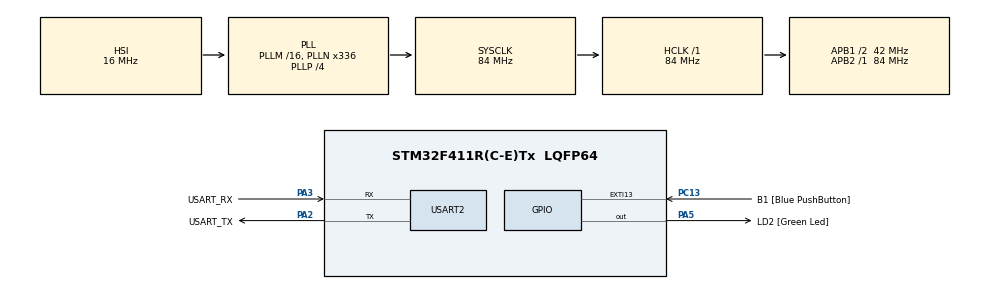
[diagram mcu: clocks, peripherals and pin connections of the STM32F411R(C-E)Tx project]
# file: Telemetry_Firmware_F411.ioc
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Mcu.Family=STM32F4
Mcu.Name=STM32F411R(C-E)Tx
Mcu.Package=LQFP64
NVIC.PriorityGroup=NVIC_PRIORITYGROUP_0
PA13.GPIO_Label=TMS
PA13.Mode=Serial_Wire
PA13.Signal=SYS_JTMS-SWDIO
PA14.GPIO_Label=TCK
PA14.Mode=Serial_Wire
PA14.Signal=SYS_JTCK-SWCLK
PA2.GPIO_Label=USART_TX
PA2.Mode=Asynchronous
PA2.Signal=USART2_TX
PA3.GPIO_Label=USART_RX
PA3.Mode=Asynchronous
PA3.Signal=USART2_RX
PA5.GPIO_Label=LD2 [Green Led]
PA5.Signal=GPIO_Output
PB3.GPIO_Label=SWO
PB3.Signal=SYS_JTDO-SWO
PC13-ANTI_TAMP.GPIO_Label=B1 [Blue PushButton]
PC13-ANTI_TAMP.GPIO_ModeDefaultEXTI=GPIO_MODE_IT_FALLING
PC13-ANTI_TAMP.Signal=GPXTI13
PC14-OSC32_IN.Mode=LSE-External-Oscillator
PC14-OSC32_IN.Signal=RCC_OSC32_IN
PC15-OSC32_OUT.Mode=LSE-External-Oscillator
PC15-OSC32_OUT.Signal=RCC_OSC32_OUT
PH0\ -\ OSC_IN.Mode=HSE-External-Clock-Source
PH0\ -\ OSC_IN.Signal=RCC_OSC_IN
PH1\ -\ OSC_OUT.Mode=HSE-External-Clock-Source
PH1\ -\ OSC_OUT.Signal=RCC_OSC_OUT
ProjectManager.HeapSize=0x200
ProjectManager.StackSize=0x400
ProjectManager.TargetToolchain=STM32CubeIDE
RCC.48MHZClocksFreq_Value=84000000
RCC.AHBFreq_Value=84000000
RCC.APB1CLKDivider=RCC_HCLK_DIV2
RCC.APB1Freq_Value=42000000
RCC.APB1TimFreq_Value=84000000
RCC.APB2Freq_Value=84000000
RCC.APB2TimFreq_Value=84000000
RCC.CortexFreq_Value=84000000
RCC.FLatency-AdvancedSettings=FLASH_LATENCY_2
RCC.HCLKFreq_Value=84000000
RCC.HSE_VALUE=8000000
RCC.HSI_VALUE=16000000
RCC.PLLN=336
RCC.PLLP=RCC_PLLP_DIV4
RCC.SYSCLKFreq_VALUE=84000000
RCC.SYSCLKSource=RCC_SYSCLKSOURCE_PLLCLK
RCC.VCOOutputFreq_Value=336000000
USART2.VirtualMode=VM_ASYNC
board=NUCLEO-F411RE

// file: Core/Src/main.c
/* USER CODE BEGIN Header */
/**
  ******************************************************************************
  * @file           : main.c
  * @brief          : Main program body
  ******************************************************************************
  * @attention
  *
  * Copyright (c) 2026 STMicroelectronics.
  * All rights reserved.
  *
  * This software is licensed under terms that can be found in the LICENSE file
  * in the root directory of this software component.
  * If no LICENSE file comes with this software, it is provided AS-IS.
  *
  ******************************************************************************
  */
/* USER CODE END Header */
#include "main.h"

/* USER CODE BEGIN Includes */
#include "cobs.h"
#include "crc16.h"
/* USER CODE END Includes */

UART_HandleTypeDef huart2;

void SystemClock_Config(void);
static void MX_GPIO_Init(void);
static void MX_USART2_UART_Init(void);

int main(void)
{

  /* USER CODE BEGIN 1 */
	uint8_t counter = 0;
  /* USER CODE END 1 */

  /* MCU Configuration--------------------------------------------------------*/

  /* Reset of all peripherals, Initializes the Flash interface and the Systick. */
  HAL_Init();

  /* Configure the system clock */
  SystemClock_Config();

  /* Initialize all configured peripherals */
  MX_GPIO_Init();
  MX_USART2_UART_Init();

  /* Infinite loop */
  while (1)
  {

    /* USER CODE BEGIN 3 */
	  // Initializing the individual values
	  uint8_t raw[5];
	  uint8_t frame[7];

	  raw[0] = 0x11;
	  raw[1] = 0x22;
	  raw[2] = counter;

	  uint16_t crcSignature = crc16(raw, 3);
	  uint8_t crcHi = (uint8_t)(crcSignature >> 8);
	  uint8_t crcLo = (uint8_t)(crcSignature);
	  raw[3] = crcHi;
	  raw[4] = crcLo;

	  size_t frameLength = cobsEncode(raw, 5, frame);
	  frame[frameLength] = 0x00;

	  // HAL_UART_Transmit and keeping returned data
	  HAL_StatusTypeDef status = HAL_UART_Transmit(
			  &huart2,						// passing &huart2
			  frame,						// first byte of encoded frame
			  (uint16_t)frameLength + 1,	// encoded frame length + 0x00
			  100							// max ms to wait before aborting
	  );

	  if (status != HAL_OK) {
		  // Transmitting data failed. Turn and keep on the LED
		  HAL_GPIO_WritePin(LD2_GPIO_Port, LD2_Pin, GPIO_PIN_SET);
	  }	else {
		  // Transmitting data worked. Turn LED on/off repeatedly.
		  HAL_GPIO_TogglePin(LD2_GPIO_Port, LD2_Pin);
	  }

	  counter++;
	  HAL_Delay(1000);

  }
  /* USER CODE END 3 */
}

void SystemClock_Config(void)
{
  RCC_OscInitTypeDef RCC_OscInitStruct = {0};
  RCC_ClkInitTypeDef RCC_ClkInitStruct = {0};

  /** Configure the main internal regulator output voltage
  */
  __HAL_RCC_PWR_CLK_ENABLE();
  __HAL_PWR_VOLTAGESCALING_CONFIG(PWR_REGULATOR_VOLTAGE_SCALE1);

  /** Initializes the RCC Oscillators according to the specified parameters
  * in the RCC_OscInitTypeDef structure.
  */
  RCC_OscInitStruct.OscillatorType = RCC_OSCILLATORTYPE_HSI;
  RCC_OscInitStruct.HSIState = RCC_HSI_ON;
  RCC_OscInitStruct.HSICalibrationValue = RCC_HSICALIBRATION_DEFAULT;
  RCC_OscInitStruct.PLL.PLLState = RCC_PLL_ON;
  RCC_OscInitStruct.PLL.PLLSource = RCC_PLLSOURCE_HSI;
  RCC_OscInitStruct.PLL.PLLM = 16;
  RCC_OscInitStruct.PLL.PLLN = 336;
  RCC_OscInitStruct.PLL.PLLP = RCC_PLLP_DIV4;
  RCC_OscInitStruct.PLL.PLLQ = 4;
  if (HAL_RCC_OscConfig(&RCC_OscInitStruct) != HAL_OK)
  {
    Error_Handler();
  }

  /** Initializes the CPU, AHB and APB buses clocks
  */
  RCC_ClkInitStruct.ClockType = RCC_CLOCKTYPE_HCLK|RCC_CLOCKTYPE_SYSCLK
                              |RCC_CLOCKTYPE_PCLK1|RCC_CLOCKTYPE_PCLK2;
  RCC_ClkInitStruct.SYSCLKSource = RCC_SYSCLKSOURCE_PLLCLK;
  RCC_ClkInitStruct.AHBCLKDivider = RCC_SYSCLK_DIV1;
  RCC_ClkInitStruct.APB1CLKDivider = RCC_HCLK_DIV2;
  RCC_ClkInitStruct.APB2CLKDivider = RCC_HCLK_DIV1;

  if (HAL_RCC_ClockConfig(&RCC_ClkInitStruct, FLASH_LATENCY_2) != HAL_OK)
  {
    Error_Handler();
  }
}

static void MX_USART2_UART_Init(void)
{

  huart2.Instance = USART2;
  huart2.Init.BaudRate = 115200;
  huart2.Init.WordLength = UART_WORDLENGTH_8B;
  huart2.Init.StopBits = UART_STOPBITS_1;
  huart2.Init.Parity = UART_PARITY_NONE;
  huart2.Init.Mode = UART_MODE_TX_RX;
  huart2.Init.HwFlowCtl = UART_HWCONTROL_NONE;
  huart2.Init.OverSampling = UART_OVERSAMPLING_16;
  if (HAL_UART_Init(&huart2) != HAL_OK)
  {
    Error_Handler();
  }

}

static void MX_GPIO_Init(void)
{
  GPIO_InitTypeDef GPIO_InitStruct = {0};

  /* GPIO Ports Clock Enable */
  __HAL_RCC_GPIOC_CLK_ENABLE();
  __HAL_RCC_GPIOH_CLK_ENABLE();
  __HAL_RCC_GPIOA_CLK_ENABLE();
  __HAL_RCC_GPIOB_CLK_ENABLE();

  /*Configure GPIO pin Output Level */
  HAL_GPIO_WritePin(LD2_GPIO_Port, LD2_Pin, GPIO_PIN_RESET);

  /*Configure GPIO pin : B1_Pin */
  GPIO_InitStruct.Pin = B1_Pin;
  GPIO_InitStruct.Mode = GPIO_MODE_IT_FALLING;
  GPIO_InitStruct.Pull = GPIO_NOPULL;
  HAL_GPIO_Init(B1_GPIO_Port, &GPIO_InitStruct);

  /*Configure GPIO pin : LD2_Pin */
  GPIO_InitStruct.Pin = LD2_Pin;
  GPIO_InitStruct.Mode = GPIO_MODE_OUTPUT_PP;
  GPIO_InitStruct.Pull = GPIO_NOPULL;
  GPIO_InitStruct.Speed = GPIO_SPEED_FREQ_LOW;
  HAL_GPIO_Init(LD2_GPIO_Port, &GPIO_InitStruct);

}

void Error_Handler(void)
{
  __disable_irq();
  while (1)
  {
  }
}
